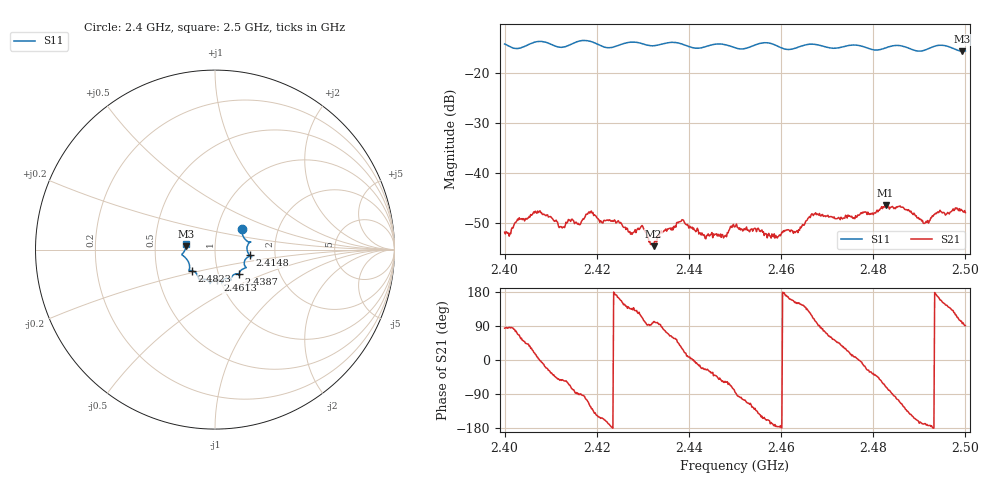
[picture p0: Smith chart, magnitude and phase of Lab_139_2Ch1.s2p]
# Hz S RI R 50
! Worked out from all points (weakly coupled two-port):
!   601 points, 2.4 GHz to 2.5 GHz, reference 50 ohm
!   highest |S21| = -46.46 dB at 2.4827 GHz (marker M1); lowest = -54.6 dB at 2.4323 GHz (marker M2)
!   lowest |S11| = -15.8 dB at 2.4993 GHz (marker M3), VSWR 1.39, Z = 36 + j1.31 ohm
!   |S11| at or under -10 dB: start of sweep to end of sweep
!   S12 and S22 are empty: the file has one direction only
!   S11 on the Smith chart (normalised r, x): 2.4 GHz: 1.32, +0.32; 2.4148 GHz: 1.47, -0.10; 2.4387 GHz: 1.25, -0.36; 2.4613 GHz: 0.97, -0.34; 2.4823 GHz: 0.75, -0.18; 2.5 GHz: 0.72, +0.04
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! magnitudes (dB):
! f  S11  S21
! 2.4 GHz  -14.3  -51.8
! 2.4072 GHz  -13.8  -47.6
! 2.4122 GHz  -15.0  -50.7
! 2.4148 GHz  -14.2  -49.4
! 2.4167 GHz  -13.6  -49.6
! 2.4187 GHz  -13.8  -47.7
! 2.4273 GHz  -14.0  -52.2
! 2.4298 GHz  -14.2  -50.5
! 2.4323 GHz  -14.7  -54.6
! 2.4333 GHz  -14.5  -52.5
! 2.4387 GHz  -14.4  -49.3
! 2.4435 GHz  -14.9  -53.0
! 2.45 GHz  -15.1  -50.7
! 2.4613 GHz  -15.4  -51.3
! 2.4667 GHz  -14.3  -48.1
! 2.476 GHz  -14.5  -49.1
! 2.4823 GHz  -15.2  -46.9
! 2.4827 GHz  -15.1  -46.5
! 2.4833 GHz  -14.9  -46.6
! 2.4912 GHz  -15.6  -50.0
! 2.4993 GHz  -15.8  -47.4
! 2.5 GHz  -15.7  -47.9
